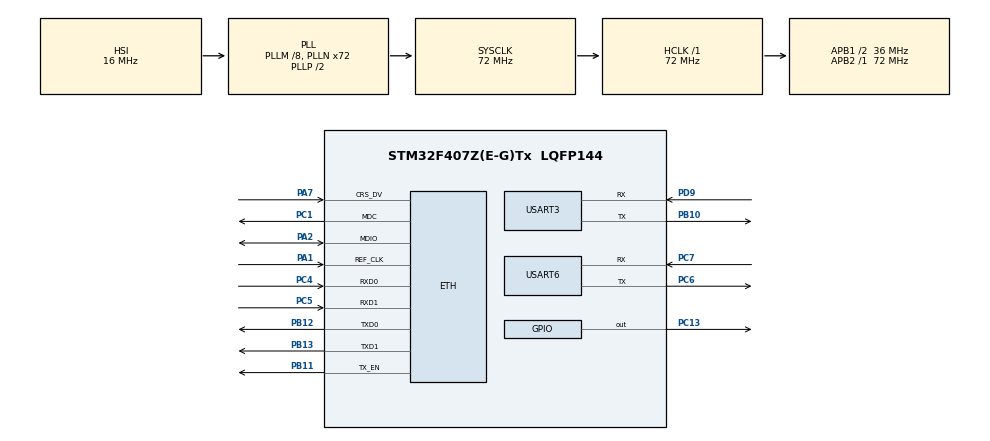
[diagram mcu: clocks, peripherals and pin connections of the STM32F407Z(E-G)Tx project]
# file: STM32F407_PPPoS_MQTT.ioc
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Dma.Request0=USART6_RX
Dma.USART6_RX.0.Direction=DMA_PERIPH_TO_MEMORY
Dma.USART6_RX.0.FIFOMode=DMA_FIFOMODE_DISABLE
Dma.USART6_RX.0.Instance=DMA2_Stream1
Dma.USART6_RX.0.MemDataAlignment=DMA_MDATAALIGN_BYTE
Dma.USART6_RX.0.MemInc=DMA_MINC_ENABLE
Dma.USART6_RX.0.Mode=DMA_CIRCULAR
Dma.USART6_RX.0.PeriphDataAlignment=DMA_PDATAALIGN_BYTE
Dma.USART6_RX.0.PeriphInc=DMA_PINC_DISABLE
Dma.USART6_RX.0.Priority=DMA_PRIORITY_LOW
ETH.MediaInterface=HAL_ETH_RMII_MODE
ETH.PhyAddress=0
FREERTOS.Tasks01=defaultTask,0,1024,StartDefaultTask,Default,NULL,Dynamic,NULL,NULL
LWIP.CHAP_SUPPORT=0
LWIP.CHECKSUM_BY_HARDWARE=0
LWIP.CMSIS_VERSION-Enabled=1
LWIP.DNS_DEBUG=LWIP_DBG_OFF
LWIP.GATEWAY_ADDRESS=000.000.000.000
LWIP.IP_ADDRESS=192.168.002.123
LWIP.LWIP_ALTCP=1
LWIP.LWIP_ALTCP_TLS=1
LWIP.LWIP_ARP=0
LWIP.LWIP_CHECKSUM_CTRL_PER_NETIF=1
LWIP.LWIP_DHCP=1
LWIP.LWIP_HTTPD=0
LWIP.LWIP_IPV6=0
LWIP.LWIP_IPV6_FRAG=0
LWIP.LWIP_IPV6_SEND_ROUTER_SOLICIT=0
LWIP.LWIP_ND6_ALLOW_RA_UPDATES=0
LWIP.LWIP_ND6_QUEUEING=0
LWIP.LWIP_ND6_TCP_REACHABILITY_HINTS=0
LWIP.LWIP_NETIF_API=1
LWIP.LWIP_NETIF_EXT_STATUS_CALLBACK=1
LWIP.LWIP_NETIF_HOSTNAME=1
LWIP.LWIP_NETIF_STATUS_CALLBACK=1
LWIP.LWIP_USE_EXTERNAL_POLARSSL=0
LWIP.LWIP_WND_SCALE=0
LWIP.MEMP_DEBUG=LWIP_DBG_ON
LWIP.MEMP_MEM_MALLOC=0
LWIP.MEMP_NUM_PPPOE_INTERFACES=0
LWIP.MEMP_NUM_PPPOL2TP_INTERFACES=0
LWIP.MEMP_NUM_TCP_PCB=1
LWIP.MEMP_NUM_UDP_PCB=1
LWIP.MEMP_USE_CUSTOM_POOLS=0
LWIP.MEM_DEBUG=LWIP_DBG_ON
LWIP.MEM_LIBC_MALLOC=1
LWIP.NETMASK_ADDRESS=255.255.255.000
LWIP.PAP_SUPPORT=1
LWIP.PPPOS_SUPPORT=1
LWIP.PPP_DEBUG=LWIP_DBG_OFF
LWIP.PPP_SUPPORT=1
LWIP.PPP_USE_PBUF_RAM=1
LWIP.TCP_MSS=1072
LWIP.TCP_RCV_SCALE=1
LWIP.VJ_SUPPORT=0
LWIP.Version=v2.1.2_Cube
MBEDTLS.MBEDTLS_DEBUG_C=1
MBEDTLS.MBEDTLS_ECP_DP_SECP224R1_ENABLED=1
MBEDTLS.MBEDTLS_ECP_DP_SECP256R1_ENABLED=1
MBEDTLS.MBEDTLS_ECP_DP_SECP384R1_ENABLED=0
MBEDTLS.MBEDTLS_ECP_RESTARTABLE=1
MBEDTLS.MBEDTLS_ERROR_C=1
MBEDTLS.MBEDTLS_HAVE_TIME=0
MBEDTLS.MBEDTLS_KEY_EXCHANGE_ECDHE_PSK_ENABLED=0
MBEDTLS.MBEDTLS_KEY_EXCHANGE_ECDHE_RSA_ENABLED=1
MBEDTLS.MBEDTLS_KEY_EXCHANGE_ECDH_RSA_ENABLED=1
MBEDTLS.MBEDTLS_MD5_ALT=0
MBEDTLS.MBEDTLS_MD5_C=1
MBEDTLS.MBEDTLS_MEMORY_BUFFER_ALLOC_C=0
MBEDTLS.MBEDTLS_MPI_MAX_SIZE_ENABLE=0
MBEDTLS.MBEDTLS_PKCS1_V15=1
MBEDTLS.MBEDTLS_PKCS1_V21=1
MBEDTLS.MBEDTLS_PLATFORM_MEMORY=0
MBEDTLS.MBEDTLS_RSA_C=1
MBEDTLS.MBEDTLS_SSL_CIPHERSUITES=MBEDTLS_TLS_ECDHE_ECDSA_WITH_AES_256_GCM_SHA384,MBEDTLS_TLS_ECDHE_ECDSA_WITH_AES_128_GCM_SHA256,MBEDTLS_TLS_ECDHE_RSA_WITH_AES_128_GCM_SHA256,MBEDTLS_TLS_ECDH_RSA_WITH_AES_128_GCM_SHA256
MBEDTLS.MBEDTLS_SSL_DTLS_MAX_BUFFERING_ENABLE=0
MBEDTLS.MBEDTLS_SSL_IN_CONTENT_LEN=4096
MBEDTLS.MBEDTLS_SSL_IN_CONTENT_LEN_ENABLE=0
MBEDTLS.MBEDTLS_SSL_MAX_CONTENT_LEN=4096
MBEDTLS.MBEDTLS_SSL_MAX_CONTENT_LEN_ENABLE=1
MBEDTLS.MBEDTLS_SSL_MAX_FRAGMENT_LENGTH=1
MBEDTLS.MBEDTLS_SSL_OUT_CONTENT_LEN=4096
MBEDTLS.MBEDTLS_SSL_OUT_CONTENT_LEN_ENABLE=0
MBEDTLS.MBEDTLS_SSL_SRV_C=0
MBEDTLS.MBEDTLS_SSL_SRV_RESPECT_CLIENT_PREFERENCE=0
MBEDTLS.MBEDTLS_X509_CRL_PARSE_C=1
MBEDTLS.MBEDTLS_X509_CSR_PARSE_C=1
MBEDTLS.MBEDTLS_X509_RSASSA_PSS_SUPPORT=1
Mcu.Family=STM32F4
Mcu.Name=STM32F407Z(E-G)Tx
Mcu.Package=LQFP144
NVIC.DMA2_Stream1_IRQn=true\:5\:0\:false\:false\:true\:true\:false\:true\:true
NVIC.ETH_IRQn=true\:5\:0\:false\:false\:true\:false\:false\:true\:true
NVIC.PriorityGroup=NVIC_PRIORITYGROUP_4
NVIC.TIM1_UP_TIM10_IRQn=true\:0\:0\:false\:false\:true\:false\:false\:true\:true
NVIC.TimeBase=TIM1_UP_TIM10_IRQn
NVIC.TimeBaseIP=TIM1
NVIC.USART6_IRQn=true\:5\:0\:false\:false\:true\:false\:true\:true\:true
PA1.Mode=RMII
PA1.Signal=ETH_REF_CLK
PA2.Mode=RMII
PA2.Signal=ETH_MDIO
PA7.Mode=RMII
PA7.Signal=ETH_CRS_DV
PB10.Mode=Asynchronous
PB10.Signal=USART3_TX
PB11.Mode=RMII
PB11.Signal=ETH_TX_EN
PB12.Mode=RMII
PB12.Signal=ETH_TXD0
PB13.Mode=RMII
PB13.Signal=ETH_TXD1
PC1.Mode=RMII
PC1.Signal=ETH_MDC
PC13-ANTI_TAMP.GPIO_ModeDefaultOutputPP=GPIO_MODE_OUTPUT_PP
PC13-ANTI_TAMP.GPIO_PuPd=GPIO_NOPULL
PC13-ANTI_TAMP.GPIO_Speed=GPIO_SPEED_FREQ_LOW
PC13-ANTI_TAMP.PinState=GPIO_PIN_RESET
PC13-ANTI_TAMP.Signal=GPIO_Output
PC4.Mode=RMII
PC4.Signal=ETH_RXD0
PC5.Mode=RMII
PC5.Signal=ETH_RXD1
PC6.Mode=Asynchronous
PC6.Signal=USART6_TX
PC7.Mode=Asynchronous
PC7.Signal=USART6_RX
PD9.Mode=Asynchronous
PD9.Signal=USART3_RX
PH0-OSC_IN.Mode=HSE-External-Oscillator
PH0-OSC_IN.Signal=RCC_OSC_IN
PH1-OSC_OUT.Mode=HSE-External-Oscillator
PH1-OSC_OUT.Signal=RCC_OSC_OUT
ProjectManager.HeapSize=0x200
ProjectManager.StackSize=0x400
ProjectManager.TargetToolchain=Makefile
RCC.48MHZClocksFreq_Value=48000000
RCC.AHBFreq_Value=72000000
RCC.APB1CLKDivider=RCC_HCLK_DIV2
RCC.APB1Freq_Value=36000000
RCC.APB1TimFreq_Value=72000000
RCC.APB2Freq_Value=72000000
RCC.APB2TimFreq_Value=72000000
RCC.CortexFreq_Value=72000000
RCC.HCLKFreq_Value=72000000
RCC.HSE_VALUE=12000000
RCC.HSI_VALUE=16000000
RCC.LSE_VALUE=32768
RCC.PLLM=8
RCC.PLLN=72
RCC.PLLQ=3
RCC.SYSCLKFreq_VALUE=72000000
RCC.SYSCLKSource=RCC_SYSCLKSOURCE_PLLCLK
RCC.VCOOutputFreq_Value=144000000
USART3.VirtualMode=VM_ASYNC
USART6.VirtualMode=VM_ASYNC
VP_FREERTOS_VS_CMSIS_V1.Mode=CMSIS_V1
VP_LWIP_VS_Enabled.Mode=Enabled
VP_MBEDTLS_VS_MBEDTLS.Mode=Enabled
VP_RNG_VS_RNG.Mode=RNG_Activate
VP_SYS_VS_tim1.Mode=TIM1
board=custom

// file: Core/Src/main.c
/* USER CODE BEGIN Header */
/**
  ******************************************************************************
  * @file           : main.c
  * @brief          : Main program body
  ******************************************************************************
  * @attention
  *
  * <h2><center>&copy; Copyright (c) 2020 STMicroelectronics.
  * All rights reserved.</center></h2>
  *
  * This software component is licensed by ST under Ultimate Liberty license
  * SLA0044, the "License"; You may not use this file except in compliance with
  * the License. You may obtain a copy of the License at:
  *                             www.st.com/SLA0044
  *
  ******************************************************************************
  */
/* USER CODE END Header */
#include "main.h"
#include "cmsis_os.h"
#include "mbedtls.h"

/* USER CODE BEGIN Includes */
#include <stdio.h>
#include <stdbool.h>
#include "lwip.h"
#include "ppp.h"
#include "libGSM.h"
#include "client_blynk.h"
/* USER CODE END Includes */

RNG_HandleTypeDef hrng;

UART_HandleTypeDef huart3;
UART_HandleTypeDef huart6;
DMA_HandleTypeDef hdma_usart6_rx;

osThreadId defaultTaskHandle;

void SystemClock_Config(void);
static void MX_GPIO_Init(void);
static void MX_DMA_Init(void);
static void MX_USART3_UART_Init(void);
static void MX_USART6_UART_Init(void);
static void MX_RNG_Init(void);
void StartDefaultTask(void const * argument);

/* USER CODE BEGIN 0 */

// Create a mutex handle
osMutexId uartMutexHandle;
osMutexDef(uartMutex);  // Mutex definition (can be placed globally or in init)

int _write(int file, char* data, int len)
{
   if (uartMutexHandle != NULL) {
      // Lock the mutex before accessing the UART
      osMutexWait(uartMutexHandle, osWaitForever);
   }

   // Transmit data via UART
   HAL_UART_Transmit(&huart3, (uint8_t*)data, len, 1000);

   if (uartMutexHandle != NULL) {
      // Release the mutex after the transmission is complete
      osMutexRelease(uartMutexHandle);
   }

   return len;  // Return the number of bytes written
}

// Initialize the mutex (call this in your system initialization code)
void UART_Mutex_Init(void) {
   uartMutexHandle = osMutexCreate(osMutex(uartMutex));
}
/* USER CODE END 0 */

int main(void)
{

  /* USER CODE BEGIN 1 */
   UART_Mutex_Init();
  /* USER CODE END 1 */

  /* MCU Configuration--------------------------------------------------------*/

  /* Reset of all peripherals, Initializes the Flash interface and the Systick. */
  HAL_Init();

  /* Configure the system clock */
  SystemClock_Config();

  /* Initialize all configured peripherals */
  MX_GPIO_Init();
  MX_DMA_Init();
  MX_USART3_UART_Init();
  MX_USART6_UART_Init();
  MX_RNG_Init();
  /* Call PreOsInit function */
  MX_MBEDTLS_Init();
  /* USER CODE BEGIN 2 */
   MX_LWIP_Init();
   printf("Low Level init complete\r\n");
  /* USER CODE END 2 */

  /* Create the thread(s) */
  /* definition and creation of defaultTask */
  osThreadDef(defaultTask, StartDefaultTask, osPriorityNormal, 0, 1024);
  defaultTaskHandle = osThreadCreate(osThread(defaultTask), NULL);

  /* Start scheduler */
  osKernelStart();

  /* We should never get here as control is now taken by the scheduler */

  /* Infinite loop */
   while (1)
   {

   }
}

void SystemClock_Config(void)
{
  RCC_OscInitTypeDef RCC_OscInitStruct = {0};
  RCC_ClkInitTypeDef RCC_ClkInitStruct = {0};

  /** Configure the main internal regulator output voltage
  */
  __HAL_RCC_PWR_CLK_ENABLE();
  __HAL_PWR_VOLTAGESCALING_CONFIG(PWR_REGULATOR_VOLTAGE_SCALE1);

  /** Initializes the RCC Oscillators according to the specified parameters
  * in the RCC_OscInitTypeDef structure.
  */
  RCC_OscInitStruct.OscillatorType = RCC_OSCILLATORTYPE_HSI;
  RCC_OscInitStruct.HSIState = RCC_HSI_ON;
  RCC_OscInitStruct.HSICalibrationValue = RCC_HSICALIBRATION_DEFAULT;
  RCC_OscInitStruct.PLL.PLLState = RCC_PLL_ON;
  RCC_OscInitStruct.PLL.PLLSource = RCC_PLLSOURCE_HSI;
  RCC_OscInitStruct.PLL.PLLM = 8;
  RCC_OscInitStruct.PLL.PLLN = 72;
  RCC_OscInitStruct.PLL.PLLP = RCC_PLLP_DIV2;
  RCC_OscInitStruct.PLL.PLLQ = 3;
  if (HAL_RCC_OscConfig(&RCC_OscInitStruct) != HAL_OK)
  {
    Error_Handler();
  }

  /** Initializes the CPU, AHB and APB buses clocks
  */
  RCC_ClkInitStruct.ClockType = RCC_CLOCKTYPE_HCLK|RCC_CLOCKTYPE_SYSCLK
                              |RCC_CLOCKTYPE_PCLK1|RCC_CLOCKTYPE_PCLK2;
  RCC_ClkInitStruct.SYSCLKSource = RCC_SYSCLKSOURCE_PLLCLK;
  RCC_ClkInitStruct.AHBCLKDivider = RCC_SYSCLK_DIV1;
  RCC_ClkInitStruct.APB1CLKDivider = RCC_HCLK_DIV2;
  RCC_ClkInitStruct.APB2CLKDivider = RCC_HCLK_DIV1;

  if (HAL_RCC_ClockConfig(&RCC_ClkInitStruct, FLASH_LATENCY_2) != HAL_OK)
  {
    Error_Handler();
  }
}

static void MX_RNG_Init(void)
{

  hrng.Instance = RNG;
  if (HAL_RNG_Init(&hrng) != HAL_OK)
  {
    Error_Handler();
  }

}

static void MX_USART3_UART_Init(void)
{

  huart3.Instance = USART3;
  huart3.Init.BaudRate = 115200;
  huart3.Init.WordLength = UART_WORDLENGTH_8B;
  huart3.Init.StopBits = UART_STOPBITS_1;
  huart3.Init.Parity = UART_PARITY_NONE;
  huart3.Init.Mode = UART_MODE_TX_RX;
  huart3.Init.HwFlowCtl = UART_HWCONTROL_NONE;
  huart3.Init.OverSampling = UART_OVERSAMPLING_16;
  if (HAL_UART_Init(&huart3) != HAL_OK)
  {
    Error_Handler();
  }

}

static void MX_USART6_UART_Init(void)
{

  huart6.Instance = USART6;
  huart6.Init.BaudRate = 115200;
  huart6.Init.WordLength = UART_WORDLENGTH_8B;
  huart6.Init.StopBits = UART_STOPBITS_1;
  huart6.Init.Parity = UART_PARITY_NONE;
  huart6.Init.Mode = UART_MODE_TX_RX;
  huart6.Init.HwFlowCtl = UART_HWCONTROL_NONE;
  huart6.Init.OverSampling = UART_OVERSAMPLING_16;
  if (HAL_UART_Init(&huart6) != HAL_OK)
  {
    Error_Handler();
  }

}

static void MX_DMA_Init(void)
{

  /* DMA controller clock enable */
  __HAL_RCC_DMA2_CLK_ENABLE();

  /* DMA interrupt init */
  /* DMA2_Stream1_IRQn interrupt configuration */
  HAL_NVIC_SetPriority(DMA2_Stream1_IRQn, 5, 0);
  HAL_NVIC_EnableIRQ(DMA2_Stream1_IRQn);

}

static void MX_GPIO_Init(void)
{
  GPIO_InitTypeDef GPIO_InitStruct = {0};

  /* GPIO Ports Clock Enable */
  __HAL_RCC_GPIOC_CLK_ENABLE();
  __HAL_RCC_GPIOH_CLK_ENABLE();
  __HAL_RCC_GPIOA_CLK_ENABLE();
  __HAL_RCC_GPIOB_CLK_ENABLE();
  __HAL_RCC_GPIOD_CLK_ENABLE();

  /*Configure GPIO pin Output Level */
  HAL_GPIO_WritePin(GPIOC, GPIO_PIN_13, GPIO_PIN_RESET);

  /*Configure GPIO pin : PC13 */
  GPIO_InitStruct.Pin = GPIO_PIN_13;
  GPIO_InitStruct.Mode = GPIO_MODE_OUTPUT_PP;
  GPIO_InitStruct.Pull = GPIO_NOPULL;
  GPIO_InitStruct.Speed = GPIO_SPEED_FREQ_LOW;
  HAL_GPIO_Init(GPIOC, &GPIO_InitStruct);

}

/* USER CODE BEGIN 4 */
void my_debug(void* ctx, int level, const char* file, int line, const char* str) {
   ((void)ctx);
   printf("%s:%d: %s", file, line, str);
}

#include "lwip/sockets.h"
#include "mbedtls/platform.h"
#include "mbedtls/net_sockets.h"
#include "mbedtls/ssl.h"
#include "mbedtls/entropy.h"
#include "mbedtls/ctr_drbg.h"
#include "mbedtls/error.h"
#include "mbedtls/x509_crt.h"

#include "lwip/sockets.h"
#include "lwip/netdb.h"

extern const char* CA_CERT;

void https_reg_test() {
   int ret;
   mbedtls_net_context server_fd;
   mbedtls_ssl_context ssl;
   mbedtls_ssl_config conf;
   mbedtls_x509_crt cacert;
   mbedtls_ctr_drbg_context ctr_drbg;
   mbedtls_entropy_context entropy;

   const char* pers = "https_client";
   const char* server = "blynk.cloud";
   const char* port = "443";

   char request[] =
      "GET / HTTP/1.1\r\n"
      "Host: blynk.cloud\r\n"
      "User-Agent: curl/7.88.1\r\n"
      "Accept: */*\r\n"
      "Connection: close\r\n\r\n";
   char buffer[256];

   // Initialize mbedTLS structures
  //  mbedtls_net_init(&server_fd);
   mbedtls_ssl_init(&ssl);
   mbedtls_ssl_config_init(&conf);
   mbedtls_x509_crt_init(&cacert);
   mbedtls_ctr_drbg_init(&ctr_drbg);
   mbedtls_entropy_init(&entropy);

   mbedtls_ssl_conf_dbg(&conf, my_debug, NULL);
   mbedtls_debug_set_threshold(1);

   // Seed the random number generator
   ret = mbedtls_ctr_drbg_seed(&ctr_drbg, mbedtls_entropy_func, &entropy, (const unsigned char*)pers, strlen(pers));
   if (ret != 0) {
      printf("mbedtls_ctr_drbg_seed failed: -0x%x\n", -ret);
      return;
   }

   // Load the trusted CA certificate
   ret = mbedtls_x509_crt_parse(&cacert, (const unsigned char*)CA_CERT, strlen(CA_CERT) + 1);
   if (ret < 0) {
      printf("mbedtls_x509_crt_parse failed: -0x%x\n", -ret);
      return;
   }

   // Connect to the server
   ret = mbedtls_net_connect(&server_fd, server, port, MBEDTLS_NET_PROTO_TCP);
   if (ret != 0) {
      printf("mbedtls_net_connect failed: -0x%x\n", -ret);
      return;
   }

   // SSL/TLS configuration
   mbedtls_ssl_config_defaults(&conf, MBEDTLS_SSL_IS_CLIENT, MBEDTLS_SSL_TRANSPORT_STREAM, MBEDTLS_SSL_PRESET_DEFAULT);

   // mbedtls_ssl_set_timer_cb(&ssl, &timer_ctx, timer_set, timer_get);

   mbedtls_ssl_conf_authmode(&conf, MBEDTLS_SSL_VERIFY_REQUIRED);
   mbedtls_ssl_conf_ca_chain(&conf, &cacert, NULL);
   mbedtls_ssl_conf_rng(&conf, mbedtls_ctr_drbg_random, &ctr_drbg);
   mbedtls_ssl_conf_min_version(&conf, MBEDTLS_SSL_MAJOR_VERSION_3, MBEDTLS_SSL_MINOR_VERSION_3); // TLS 1.2
   mbedtls_ssl_setup(&ssl, &conf);
   mbedtls_ssl_set_bio(&ssl, &server_fd, mbedtls_net_send, mbedtls_net_recv, NULL);
   mbedtls_ssl_set_hostname(&ssl, server);
   mbedtls_ssl_conf_max_frag_len(&conf, MBEDTLS_SSL_MAX_FRAG_LEN_4096);

   // Perform SSL/TLS handshake
   while ((ret = mbedtls_ssl_handshake(&ssl)) != 0) {
      if (ret != MBEDTLS_ERR_SSL_WANT_READ && ret != MBEDTLS_ERR_SSL_WANT_WRITE) {
         printf("mbedtls_ssl_handshake failed: -0x%x\n", -ret);
         return;
      }
   }

   // Send HTTP GET request
   printf(request);
   ret = mbedtls_ssl_write(&ssl, (const unsigned char*)request, strlen(request));
   if (ret != strlen(request)) {
      printf("Error sending request: %d\n", ret);
   }

   do {
      ret = mbedtls_ssl_read(&ssl, (unsigned char*)buffer, sizeof(buffer) - 1);
      if (ret > 0) {
         for (int n = 0; n < ret; n++) {
            _write(0, &buffer[n], 1);
         }
      }
   } while (ret > 0);
   printf("\n\nDone!\n");

   // Cleanup
   mbedtls_ssl_close_notify(&ssl);
   mbedtls_net_free(&server_fd);
   mbedtls_x509_crt_free(&cacert);
   mbedtls_ssl_free(&ssl);
   mbedtls_ssl_config_free(&conf);
   mbedtls_ctr_drbg_free(&ctr_drbg);
   mbedtls_entropy_free(&entropy);
}

// #include "lwip/sockets.h"
// #include "lwip/netdb.h"
// #include <string.h>
// #include <stdio.h>

// #define SERVER "example.com"
// #define PORT   80

// void http_reg_test(void) {
//    int sock;
//    struct sockaddr_in server_addr;
//    char request[] = "GET / HTTP/1.1\r\nHost: example.com\r\nConnection: close\r\n\r\n";
//    char response[1024];
//    int bytes_received;

//    sock = socket(AF_INET, SOCK_STREAM, 0);
//    if (sock < 0) {
//       printf("Socket creation failed\n");
//       return;
//    }

//    server_addr.sin_family = AF_INET;
//    server_addr.sin_port = htons(PORT);

//    // Resolve hostname
//    struct hostent* host = gethostbyname(SERVER);
//    if (host == NULL) {
//       printf("DNS resolution failed\n");
//       close(sock);
//       return;
//    }
//    memcpy(&server_addr.sin_addr, host->h_addr, host->h_length);

//    if (connect(sock, (struct sockaddr*)&server_addr, sizeof(server_addr)) < 0) {
//       printf("Connection failed\n");
//       close(sock);
//       return;
//    }

//    if (send(sock, request, strlen(request), 0) < 0) {
//       printf("Send failed\n");
//       close(sock);
//       return;
//    }

//    while ((bytes_received = recv(sock, response, sizeof(response) - 1, 0)) > 0) {
//       response[bytes_received] = '\0';  // Null-terminate the response
//       printf("%s", response);
//    }

//    close(sock);
//    printf("\nConnection closed\n");
// }
/* USER CODE END 4 */

void StartDefaultTask(void const* argument) {
   /* USER CODE BEGIN 5 */
   printf("Started StartDefaultTask\r\n");
   mqtt_message_t msg;

   mqtt_init();
   LTE_ppposInit();

  //  mqtt_connect("mqtts://lon1.blynk.cloud:8883");

   for(;;) {
      if(xQueueReceive(mqttQueue, &msg, portMAX_DELAY) == pdPASS) {
        //  printf("Got mqtt message: %d\n", msg.id);
         switch(msg.id) {
         case topic_redirect:
            mqtt_connect((const char*)msg.payload);
            break;
         case topic_disconnect:
         case topic_connect:
            mqtt_connect("mqtts://lon1.blynk.cloud:8883");
            break;
         case topic_ping:
            mqtt_publish_ds("ds/Terminal", "Ping request\n");
            break;
         case topic_reboot:
            mqtt_publish_ds("ds/Terminal", "Reboot request\n");
            NVIC_SystemReset();
            break;
         case topic_power: {
            int on = atoi((const char*)msg.payload);
            printf("Power:%d\n", on);
            char tmp[0xf];
            int status = 1;
            if( on )
              status = 2 + rand()%3;
            sprintf(tmp, "%d", status);
            mqtt_publish_ds("ds/Status", tmp);
         } break;
         case topic_settemperature: {
            int temperature = atoi((const char*)msg.payload);
            printf("Set Temperature:%d\n", temperature);
            char tmp[0xf]; sprintf(tmp, "%d", temperature);
            mqtt_publish_ds("ds/Current Temperature", tmp);
         } break;
         default:
            printf("Unknown topic: %d\n", msg.id);
            break;
         }
         if(msg.payload)
            free(msg.payload);
      }
   }
   /* USER CODE END 5 */
}

void HAL_TIM_PeriodElapsedCallback(TIM_HandleTypeDef *htim)
{
  if (htim->Instance == TIM1) {
    HAL_IncTick();
  }
}

void Error_Handler(void)
{
}

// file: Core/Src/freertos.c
/* USER CODE BEGIN Header */
/**
  ******************************************************************************
  * File Name          : freertos.c
  * Description        : Code for freertos applications
  ******************************************************************************
  * @attention
  *
  * <h2><center>&copy; Copyright (c) 2020 STMicroelectronics.
  * All rights reserved.</center></h2>
  *
  * This software component is licensed by ST under Ultimate Liberty license
  * SLA0044, the "License"; You may not use this file except in compliance with
  * the License. You may obtain a copy of the License at:
  *                             www.st.com/SLA0044
  *
  ******************************************************************************
  */
/* USER CODE END Header */

#include "FreeRTOS.h"
#include "task.h"
#include "main.h"

/* GetIdleTaskMemory prototype (linked to static allocation support) */
void vApplicationGetIdleTaskMemory( StaticTask_t **ppxIdleTaskTCBBuffer, StackType_t **ppxIdleTaskStackBuffer, uint32_t *pulIdleTaskStackSize );

/* USER CODE BEGIN GET_IDLE_TASK_MEMORY */
static StaticTask_t xIdleTaskTCBBuffer;
static StackType_t xIdleStack[configMINIMAL_STACK_SIZE];

void vApplicationGetIdleTaskMemory( StaticTask_t **ppxIdleTaskTCBBuffer, StackType_t **ppxIdleTaskStackBuffer, uint32_t *pulIdleTaskStackSize )
{
  *ppxIdleTaskTCBBuffer = &xIdleTaskTCBBuffer;
  *ppxIdleTaskStackBuffer = &xIdleStack[0];
  *pulIdleTaskStackSize = configMINIMAL_STACK_SIZE;
  /* place for user code */
}
/* USER CODE END GET_IDLE_TASK_MEMORY */
